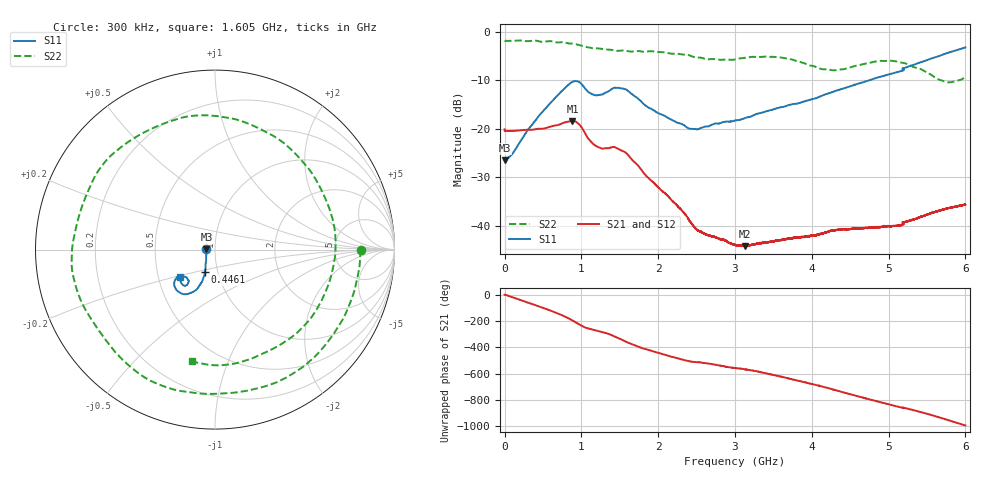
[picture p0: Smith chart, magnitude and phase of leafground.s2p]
!  8/6/2020  01:50:24
! Ref Plane: 0.000 mm
# MHZ S MA R  50
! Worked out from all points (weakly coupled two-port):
!   10001 points, 300 kHz to 6 GHz, reference 50 ohm
!   highest |S21| = -18.37 dB at 883.5 MHz (marker M1); lowest = -44.2 dB at 3.127 GHz (marker M2)
!   lowest |S11| = -26.5 dB at 300 kHz (marker M3), VSWR 1.10, Z = 45.5 + j0.103 ohm
!   |S11| at or under -10 dB: start of sweep to 4.743 GHz
!   |S22| runs from -10.4 to -1.8 dB; largest |S21 - S12| = 0.0024
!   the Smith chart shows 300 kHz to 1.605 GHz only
!   S11 on the Smith chart (normalised r, x): 300 kHz: 0.91, +0.00; 446.1 MHz: 0.87, -0.22; 1.605 GHz: 0.65, -0.21
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0.3  0.0475 178.6  0.09888 -1.0  0.0965 -0.8  0.8155 -0.3
240.888  0.08167 -127.6  0.09732 -48.2  0.09741 -48.2  0.8114 -69.7
446.0777  0.136 -114.7  0.1002 -90.5  0.1005 -90.5  0.8011 -129.8
643.4678  0.2017 -112.4  0.1076 -132.5  0.1077 -132.6  0.7883 174.5
883.4558  0.3059 -126.1  0.1206 163.4  0.1207 163.3  0.7579 105.0
1000.45  0.291 -141.1  0.1043 123.3  0.1043 123.3  0.7202 71.3
1275.236  0.2262 -130.3  0.06238 74.9  0.06238 74.8  0.6668 -7.3
1604.62  0.2469 -142.4  0.05418 -4.3  0.05425 -4.3  0.6354 -101.5
2000.6  0.1454 -134.0  0.02491 -82.5  0.02491 -82.5  0.6212 151.1
2257.387  0.115 -117.4  0.01581 -124.4  0.01589 -124.6  0.5959 82.8
2535.173  0.1003 -87.3  0.00879 -154.8  0.008788 -154.7  0.5437 4.8
2778.161  0.1136 -68.2  0.00747 -175.9  0.007433 -176.3  0.5185 -67.6
3000.15  0.1216 -54.1  0.006316 162.1  0.00636 162.4  0.5209 -133.5
3127.344  0.1291 -45.6  0.006153 153.0  0.006251 152.9  0.5394 -168.6
3540.123  0.1628 -25.2  0.007028 104.4  0.006995 104.5  0.5514 87.6
4000.3  0.2018 -5.1  0.007908 41.2  0.007953 41.6  0.4468 -33.5
4220.489  0.2329 3.7  0.008706 9.2  0.008702 9.5  0.4095 -102.0
4485.676  0.2723 11.0  0.009231 -34.3  0.009244 -34.3  0.4271 174.9
4759.262  0.3194 17.4  0.009488 -76.5  0.009545 -76.6  0.481 102.3
5000.45  0.3643 21.9  0.009948 -113.1  0.009841 -113.0  0.5022 45.2
5501.425  0.5126 27.2  0.01304 175.0  0.01305 175.0  0.3809 -76.5
6000  0.6907 21.6  0.01651 86.8  0.01654 86.7  0.3435 115.2
